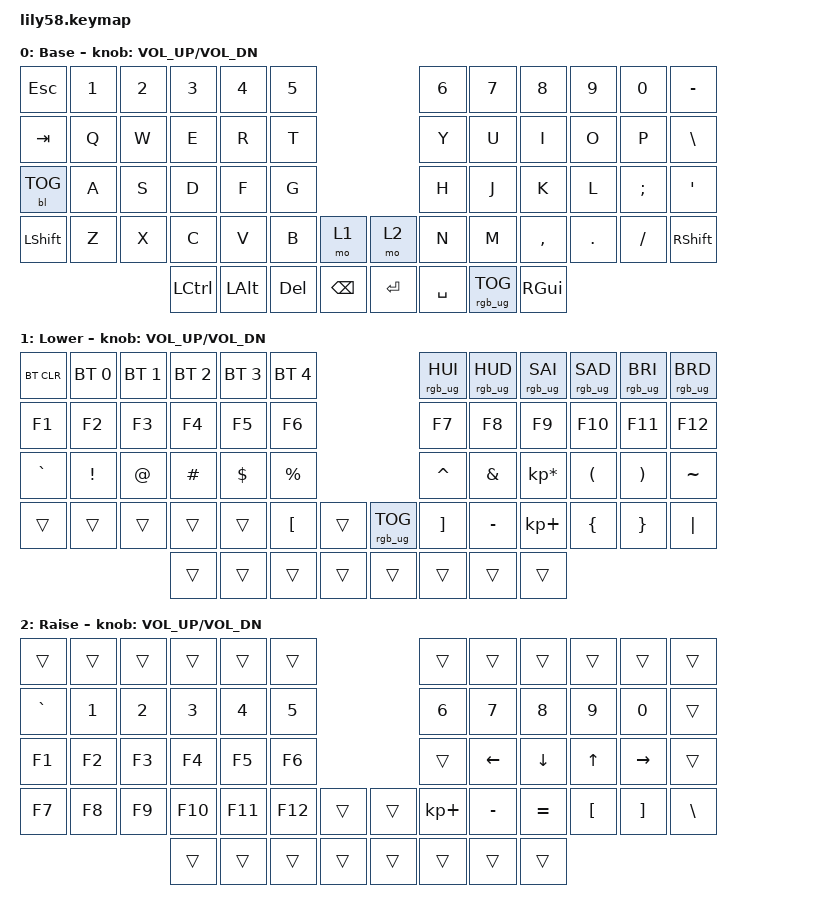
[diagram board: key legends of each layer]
/*
 * Copyright (c) 2020 The ZMK Contributors
 *
 * SPDX-License-Identifier: MIT
 */

#include <behaviors.dtsi>
#include <dt-bindings/zmk/backlight.h>
#include <dt-bindings/zmk/bt.h>
#include <dt-bindings/zmk/keys.h>
#include <dt-bindings/zmk/rgb.h>

/ {
    keymap {
        compatible = "zmk,keymap";

        default_layer {
            // ------------------------------------------------------------------------------------------------------------
            // |  ESC  |  1  |  2  |  3   |  4   |  5   |                   |  6   |  7    |  8    |  9   |   0   |   `   |
            // |  TAB  |  Q  |  W  |  E   |  R   |  T   |                   |  Y   |  U    |  I    |  O   |   P   |   -   |
            // |  CTRL |  A  |  S  |  D   |  F   |  G   |                   |  H   |  J    |  K    |  L   |   ;   |   '   |
            // | SHIFT |  Z  |  X  |  C   |  V   |  B   |   "["  |  |  "]"  |  N   |  M    |  ,    |  .   |   /   | SHIFT |
            //                     | ALT  | GUI  | LOWER|  SPACE |  | ENTER | RAISE| BSPC  | GUI   |

            display-name = "Base";
            bindings = <
&kp ESC         &kp N1  &kp N2  &kp N3     &kp N4        &kp N5                             &kp N6     &kp N7           &kp N8         &kp N9   &kp N0    &kp MINUS
&kp TAB         &kp Q   &kp W   &kp E      &kp R         &kp T                              &kp Y      &kp U            &kp I          &kp O    &kp P     &kp BACKSLASH
&bl BL_TOG      &kp A   &kp S   &kp D      &kp F         &kp G                              &kp H      &kp J            &kp K          &kp L    &kp SEMI  &kp SQT
&kp LEFT_SHIFT  &kp Z   &kp X   &kp C      &kp V         &kp B    &mo 1            &mo 2    &kp N      &kp M            &kp COMMA      &kp DOT  &kp FSLH  &kp RSHFT
                                &kp LCTRL  &kp LEFT_ALT  &kp DEL  &kp BACKSPACE    &kp RET  &kp SPACE  &rgb_ug RGB_TOG  &kp RIGHT_GUI
            >;

            sensor-bindings = <&inc_dec_kp C_VOL_UP C_VOL_DN>;
        };

        lower_layer {
            // ------------------------------------------------------------------------------------------------------------
            // | BTCLR | BT1 | BT2 |  BT3 |  BT4 |  BT5 |                   |      |       |       |      |       |       |
            // |  F1   |  F2 |  F3 |  F4  |  F5  |  F6  |                   |  F7  |  F8   |  F9   |  F10 |  F11  |  F12  |
            // |   `   |  !  |  @  |  #   |  $   |  %   |                   |  ^   |  &    |  *    |  (   |   )   |   ~   |
            // |       |     |     |      |      |      |        |  |       |      |  _    |  +    |  {   |   }   |  "|"  |
            //                     |      |      |      |        |  |       |      |       |       |

            display-name = "Lower";
            bindings = <
&bt BT_CLR  &bt BT_SEL 0  &bt BT_SEL 1  &bt BT_SEL 2  &bt BT_SEL 3  &bt BT_SEL 4                                 &rgb_ug RGB_HUI    &rgb_ug RGB_HUD  &rgb_ug RGB_SAI  &rgb_ug RGB_SAD  &rgb_ug RGB_BRI  &rgb_ug RGB_BRD
&kp F1      &kp F2        &kp F3        &kp F4        &kp F5        &kp F6                                       &kp F7             &kp F8           &kp F9           &kp F10          &kp F11          &kp F12
&kp GRAVE   &kp EXCL      &kp AT        &kp HASH      &kp DOLLAR    &kp PRCNT                                    &kp CARET          &kp AMPS         &kp KP_MULTIPLY  &kp LPAR         &kp RPAR         &kp TILDE
&trans      &trans        &trans        &trans        &trans        &kp LEFT_BRACKET  &trans    &rgb_ug RGB_TOG  &kp RIGHT_BRACKET  &kp MINUS        &kp KP_PLUS      &kp LBRC         &kp RBRC         &kp PIPE
                                        &trans        &trans        &trans            &trans    &trans           &trans             &trans           &trans
            >;

            sensor-bindings = <&inc_dec_kp C_VOL_UP C_VOL_DN>;
        };

        raise_layer {
            // ------------------------------------------------------------------------------------------------------------
            // |       |     |     |      |      |      |                   |      |       |       |      |       |       |
            // |   `   |  1  |  2  |  3   |  4   |  5   |                   |  6   |   7   |   8   |  9   |   0   |       |
            // |   F1  |  F2 |  F3 |  F4  |  F5  |  F6  |                   |      |   <-  |   v   |  ^   |  ->   |       |
            // |   F7  |  F8 |  F9 |  F10 |  F11 |  F12 |        |  |       |  +   |   -   |   =   |  [   |   ]   |   \   |
            //                     |      |      |      |        |  |       |      |       |       |

            display-name = "Raise";
            bindings = <
&trans     &trans  &trans  &trans   &trans   &trans                     &trans       &trans     &trans     &trans    &trans     &trans
&kp GRAVE  &kp N1  &kp N2  &kp N3   &kp N4   &kp N5                     &kp N6       &kp N7     &kp N8     &kp N9    &kp N0     &trans
&kp F1     &kp F2  &kp F3  &kp F4   &kp F5   &kp F6                     &trans       &kp LEFT   &kp DOWN   &kp UP    &kp RIGHT  &trans
&kp F7     &kp F8  &kp F9  &kp F10  &kp F11  &kp F12  &trans    &trans  &kp KP_PLUS  &kp MINUS  &kp EQUAL  &kp LBKT  &kp RBKT   &kp BSLH
                           &trans   &trans   &trans   &trans    &trans  &trans       &trans     &trans
            >;

            sensor-bindings = <&inc_dec_kp C_VOL_UP C_VOL_DN>;
        };

        extra_1 { status = "reserved"; };

        extra_2 { status = "reserved"; };

        extra_3 { status = "reserved"; };
    };
};
